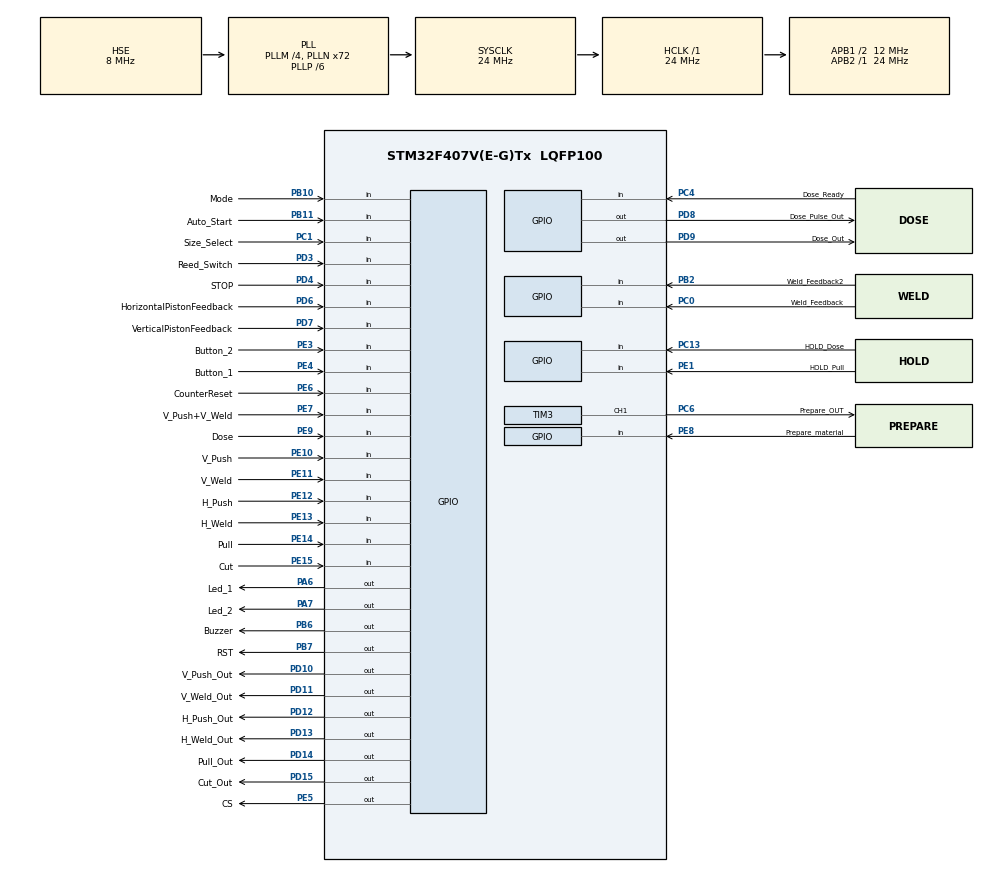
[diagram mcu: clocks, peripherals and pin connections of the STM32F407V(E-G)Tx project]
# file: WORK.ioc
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Mcu.Family=STM32F4
Mcu.Name=STM32F407V(E-G)Tx
Mcu.Package=LQFP100
NVIC.PriorityGroup=NVIC_PRIORITYGROUP_4
NVIC.TIM7_IRQn=true\:0\:0\:false\:false\:true\:true\:true
PA13.Mode=JTAG_5_pins
PA13.Signal=SYS_JTMS-SWDIO
PA14.Mode=JTAG_5_pins
PA14.Signal=SYS_JTCK-SWCLK
PA15.Mode=JTAG_5_pins
PA15.Signal=SYS_JTDI
PA6.GPIO_Label=Led_1
PA6.Signal=GPIO_Output
PA7.GPIO_Label=Led_2
PA7.Signal=GPIO_Output
PB10.GPIO_Label=Mode
PB10.GPIO_PuPd=GPIO_PULLUP
PB10.Signal=GPIO_Input
PB11.GPIO_Label=Auto_Start
PB11.GPIO_PuPd=GPIO_PULLUP
PB11.Signal=GPIO_Input
PB2.GPIO_Label=Weld_Feedback2
PB2.GPIO_PuPd=GPIO_PULLUP
PB2.Signal=GPIO_Input
PB3.Mode=JTAG_5_pins
PB3.Signal=SYS_JTDO-SWO
PB4.Mode=JTAG_5_pins
PB4.Signal=SYS_JTRST
PB6.GPIO_Label=Buzzer
PB6.Signal=GPIO_Output
PB7.GPIO_Label=RST
PB7.GPIO_PuPd=GPIO_PULLDOWN
PB7.Signal=GPIO_Output
PC0.GPIO_Label=Weld_Feedback
PC0.GPIO_PuPd=GPIO_PULLUP
PC0.Signal=GPIO_Input
PC1.GPIO_Label=Size_Select
PC1.GPIO_PuPd=GPIO_PULLUP
PC1.Signal=GPIO_Input
PC13-ANTI_TAMP.GPIO_Label=HOLD_Dose
PC13-ANTI_TAMP.GPIO_PuPd=GPIO_PULLUP
PC13-ANTI_TAMP.Signal=GPIO_Input
PC14-OSC32_IN.Mode=LSE-External-Oscillator
PC14-OSC32_IN.Signal=RCC_OSC32_IN
PC15-OSC32_OUT.Mode=LSE-External-Oscillator
PC15-OSC32_OUT.Signal=RCC_OSC32_OUT
PC4.GPIO_Label=Dose_Ready
PC4.GPIO_PuPd=GPIO_PULLDOWN
PC4.Signal=GPIO_Input
PC6.GPIO_Label=Prepare_OUT
PC6.GPIO_PuPd=GPIO_NOPULL
PC6.GPIO_Speed=GPIO_SPEED_FREQ_HIGH
PC6.Signal=S_TIM3_CH1
PD10.GPIO_Label=V_Push_Out
PD10.GPIO_PuPd=GPIO_PULLUP
PD10.Signal=GPIO_Output
PD11.GPIO_Label=V_Weld_Out
PD11.GPIO_PuPd=GPIO_PULLUP
PD11.Signal=GPIO_Output
PD12.GPIO_Label=H_Push_Out
PD12.GPIO_PuPd=GPIO_PULLUP
PD12.Signal=GPIO_Output
PD13.GPIO_Label=H_Weld_Out
PD13.GPIO_PuPd=GPIO_PULLUP
PD13.Signal=GPIO_Output
PD14.GPIO_Label=Pull_Out
PD14.GPIO_PuPd=GPIO_PULLUP
PD14.Signal=GPIO_Output
PD15.GPIO_Label=Cut_Out
PD15.GPIO_PuPd=GPIO_PULLUP
PD15.Signal=GPIO_Output
PD3.GPIO_Label=Reed_Switch
PD3.GPIO_PuPd=GPIO_PULLUP
PD3.Signal=GPIO_Input
PD4.GPIO_Label=STOP
PD4.GPIO_PuPd=GPIO_PULLUP
PD4.Signal=GPIO_Input
PD6.GPIO_Label=HorizontalPistonFeedback
PD6.GPIO_PuPd=GPIO_PULLUP
PD6.Signal=GPIO_Input
PD7.GPIO_Label=VerticalPistonFeedback
PD7.Signal=GPIO_Input
PD8.GPIO_Label=Dose_Pulse_Out
PD8.GPIO_PuPd=GPIO_PULLUP
PD8.Signal=GPIO_Output
PD9.GPIO_Label=Dose_Out
PD9.GPIO_PuPd=GPIO_PULLUP
PD9.Signal=GPIO_Output
PE1.GPIO_Label=HOLD_Pull
PE1.GPIO_PuPd=GPIO_PULLUP
PE1.Signal=GPIO_Input
PE10.GPIO_Label=V_Push
PE10.GPIO_PuPd=GPIO_PULLUP
PE10.Signal=GPIO_Input
PE11.GPIO_Label=V_Weld
PE11.GPIO_PuPd=GPIO_PULLUP
PE11.Signal=GPIO_Input
PE12.GPIO_Label=H_Push
PE12.GPIO_PuPd=GPIO_PULLUP
PE12.Signal=GPIO_Input
PE13.GPIO_Label=H_Weld
PE13.GPIO_PuPd=GPIO_PULLUP
PE13.Signal=GPIO_Input
PE14.GPIO_Label=Pull
PE14.GPIO_PuPd=GPIO_PULLUP
PE14.Signal=GPIO_Input
PE15.GPIO_Label=Cut
PE15.GPIO_PuPd=GPIO_PULLUP
PE15.Signal=GPIO_Input
PE3.GPIO_Label=Button_2
PE3.GPIO_PuPd=GPIO_PULLUP
PE3.Signal=GPIO_Input
PE4.GPIO_Label=Button_1
PE4.GPIO_PuPd=GPIO_PULLUP
PE4.Signal=GPIO_Input
PE5.GPIO_Label=CS
PE5.GPIO_PuPd=GPIO_PULLDOWN
PE5.Signal=GPIO_Output
PE6.GPIO_Label=CounterReset
PE6.GPIO_PuPd=GPIO_PULLUP
PE6.Signal=GPIO_Input
PE7.GPIO_Label=V_Push+V_Weld
PE7.GPIO_PuPd=GPIO_PULLUP
PE7.Signal=GPIO_Input
PE8.GPIO_Label=Prepare_material
PE8.GPIO_PuPd=GPIO_PULLUP
PE8.Signal=GPIO_Input
PE9.GPIO_Label=Dose
PE9.GPIO_PuPd=GPIO_PULLUP
PE9.Signal=GPIO_Input
PH0-OSC_IN.Mode=HSE-External-Oscillator
PH0-OSC_IN.Signal=RCC_OSC_IN
PH1-OSC_OUT.Mode=HSE-External-Oscillator
PH1-OSC_OUT.Signal=RCC_OSC_OUT
ProjectManager.HeapSize=0x200
ProjectManager.StackSize=0x400
ProjectManager.TargetToolchain=STM32CubeIDE
RCC.48MHZClocksFreq_Value=36000000
RCC.AHBFreq_Value=24000000
RCC.APB1CLKDivider=RCC_HCLK_DIV2
RCC.APB1Freq_Value=12000000
RCC.APB1TimFreq_Value=24000000
RCC.APB2Freq_Value=24000000
RCC.APB2TimFreq_Value=24000000
RCC.CortexFreq_Value=24000000
RCC.HCLKFreq_Value=24000000
RCC.HSE_VALUE=8000000
RCC.HSI_VALUE=16000000
RCC.PLLM=4
RCC.PLLN=72
RCC.PLLP=RCC_PLLP_DIV6
RCC.PLLSourceVirtual=RCC_PLLSOURCE_HSE
RCC.SYSCLKFreq_VALUE=24000000
RCC.SYSCLKSource=RCC_SYSCLKSOURCE_PLLCLK
RCC.VCOOutputFreq_Value=144000000
SH.S_TIM3_CH1.0=TIM3_CH1,PWM Generation1 CH1
TIM3.AutoReloadPreload=TIM_AUTORELOAD_PRELOAD_DISABLE
TIM3.Channel-PWM\ Generation1\ CH1=TIM_CHANNEL_1
TIM3.ClockDivision=TIM_CLOCKDIVISION_DIV4
TIM3.OCFastMode_PWM-PWM\ Generation1\ CH1=TIM_OCFAST_DISABLE
TIM3.Period=116
TIM3.Prescaler=150
TIM3.Pulse-PWM\ Generation1\ CH1=58
TIM7.Period=5
TIM7.Prescaler=24000-1
VP_TIM3_VS_ClockSourceINT.Mode=Internal
VP_TIM7_VS_ClockSourceINT.Mode=Enable_Timer
board=custom

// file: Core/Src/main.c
/* USER CODE BEGIN Header */
/**
  ******************************************************************************
  * @file           : main.c
  * @brief          : Main program body
  ******************************************************************************
  * @attention
  *
  * <h2><center>&copy; Copyright (c) 2021 STMicroelectronics.
  * All rights reserved.</center></h2>
  *
  * This software component is licensed by ST under BSD 3-Clause license,
  * the "License"; You may not use this file except in compliance with the
  * License. You may obtain a copy of the License at:
  *                        opensource.org/licenses/BSD-3-Clause
  *
  ******************************************************************************
  */
/* USER CODE END Header */
#include "main.h"

/* USER CODE BEGIN Includes */
#include <stdbool.h>
#include <stdio.h>
#include <string.h>
#include "ST7920_lib.h"
/* USER CODE END Includes */

/* USER CODE BEGIN PTD */
struct Button
{
	char* Label;
	GPIO_TypeDef* GPIO;
	uint16_t GPIO_Pin;
	GPIO_TypeDef* GPIO_Out;
	uint16_t GPIO_Pin_Out;
	uint8_t B_counter;
	uint8_t B_State;
	uint8_t B_Out;
	uint8_t Lock;
	uint8_t Mode;
	uint16_t Delay;
	struct Button* addiction;
	void (*call_function)(struct Button *button);
	void (*alternate_function)(struct Button *button);
	void (*third_function)(uint32_t* steps);
};
/* USER CODE END PTD */

/* USER CODE BEGIN PD */
#define HOLD 0
#define PRESS 1
#define TOGGLE 2
#define TIMER 3
#define __DELAY 4
#define HOLD_MOTOR 5
#define HOLD_UNTIL 6

#define STEPS 12000
#define ACCEL 800

#define PULL_STEPS 1720
/* USER CODE END PD */

TIM_HandleTypeDef htim3;
TIM_HandleTypeDef htim7;

/* USER CODE BEGIN PV */

// Переменные для работы счётчика (принцип энкодера)

uint8_t OutSignals[][2] = {{0,0},{1,0},{1,1},{0,1}};
uint8_t *pOutSig = OutSignals[0];

extern char tx_buffer[128]; //Буфер для отправки текста на дисплей
extern uint8_t Frame_buffer[1024]; //Буфер кадра

static uint32_t Pullsteps = PULL_STEPS, Dosesteps = STEPS;
uint32_t counter = 0, count_prev = 0;

char tmpflg = 0;

static bool flag = false;
#define WELD_DELAY 600
#define BUTTONS_COUNT 23
struct Button Buttons[BUTTONS_COUNT];
static uint32_t Defines[BUTTONS_COUNT][6] = {
		{(uint32_t)V_Push_V_Weld_GPIO_Port, V_Push_V_Weld_Pin, 0, 0, PRESS, 0},															// 0Macros
		{(uint32_t)Prepare_material_GPIO_Port, Prepare_material_Pin, (uint32_t)0, 0, HOLD_UNTIL, 12000},								// 1Prepare material from bobbin
		{(uint32_t)Dose_GPIO_Port, Dose_Pin, (uint32_t)Dose_Out_GPIO_Port, Dose_Out_Pin, TIMER, 2580},									// 2Dose motor control
		{(uint32_t)V_Push_GPIO_Port, V_Push_Pin, (uint32_t)V_Push_Out_GPIO_Port, V_Push_Out_Pin, TOGGLE, 0},							// 3Vertical cylinder push
		{(uint32_t)V_Weld_GPIO_Port, V_Weld_Pin, (uint32_t)V_Weld_Out_GPIO_Port, V_Weld_Out_Pin, __DELAY, WELD_DELAY},					// 4Vertical Weld spot
		{(uint32_t)H_Push_GPIO_Port, H_Push_Pin, (uint32_t)H_Push_Out_GPIO_Port, H_Push_Out_Pin, TOGGLE, 0},							// 5Horizontal cylinder push
		{(uint32_t)H_Weld_GPIO_Port, H_Weld_Pin, (uint32_t)H_Weld_Out_GPIO_Port, H_Weld_Out_Pin, __DELAY, WELD_DELAY},					// 6Horizontal Weld spot
		{(uint32_t)Pull_GPIO_Port, Pull_Pin, (uint32_t)Pull_Out_GPIO_Port, Pull_Out_Pin, TIMER, 2600},									// 7Pull material down
		{(uint32_t)Cut_GPIO_Port, Cut_Pin, (uint32_t)Cut_Out_GPIO_Port, Cut_Out_Pin, HOLD, 0},											// 8Cutter
		{(uint32_t)Mode_GPIO_Port, Mode_Pin, 0, 0, HOLD, 0},																			// 9Mode select
		{(uint32_t)Auto_Start_GPIO_Port, Auto_Start_Pin, 0, 0, TOGGLE, 0},																// 10Auto mode start
		{(uint32_t)HOLD_Dose_GPIO_Port, HOLD_Dose_Pin, (uint32_t)Dose_Out_GPIO_Port, Dose_Out_Pin, HOLD_MOTOR, 2580},					// 11HOLD_Dose motor
		{(uint32_t)HOLD_Pull_GPIO_Port, HOLD_Pull_Pin, (uint32_t)Pull_Out_GPIO_Port, Pull_Out_Pin, HOLD_MOTOR, 2580},					// 12HOLD_Pull motor
		{(uint32_t)Reed_Switch_GPIO_Port, Reed_Switch_Pin, (uint32_t)0, 0, 200, 2580},													// 13Reed Switch feedback
		{(uint32_t)CounterReset_GPIO_Port, CounterReset_Pin, (uint32_t)0, 0, 0, 0},														// 14Counter reset
		{(uint32_t)Size_Select_GPIO_Port, Size_Select_Pin, (uint32_t)0, 0, 0, 0},														// 15Pocket size select
		{(uint32_t)Dose_GPIO_Port, Dose_Pin, (uint32_t)Dose_Pulse_Out_GPIO_Port, Dose_Pulse_Out_Pin, __DELAY, 100},						// 16Pulse out for dose machine
		{(uint32_t)Dose_Ready_GPIO_Port, Dose_Ready_Pin, (uint32_t)0, 0, 0, 0},															// 17Dose feedback signal (When ready)
		{(uint32_t)Weld_Feedback_GPIO_Port, Weld_Feedback_Pin, (uint32_t)0, 0, 0, 0},													// 18Weld feedback (Check welder error)
		{(uint32_t)0, 0, (uint32_t)0, 0, 0, 0},																							// 19Buzzer
		{(uint32_t)Weld_Feedback2_GPIO_Port, Weld_Feedback2_Pin, (uint32_t)0, 0, 0, 0},													// 20Weld feedback2 (Check welder error)
		{(uint32_t)VerticalPistonFeedback_GPIO_Port, VerticalPistonFeedback_Pin, (uint32_t)0, 0, 0, 0},									// 21VPush_FeedBack
		{(uint32_t)HorizontalPistonFeedback_GPIO_Port, HorizontalPistonFeedback_Pin, (uint32_t)0, 0, 0, 0}								// 22HPush_FeedBack
};
/* USER CODE END PV */

void SystemClock_Config(void);
static void MX_GPIO_Init(void);
static void MX_TIM7_Init(void);
static void MX_TIM3_Init(void);
/* USER CODE BEGIN PFP */
void Init(void);
void toggle_func(struct Button *button);
void macros1(struct Button *button);
void Delay(uint32_t delay);
void SetSteps0(uint32_t* steps);
void SetSteps1(uint32_t* steps);
void SetSteps2(uint32_t* steps);
void TimerMotor(struct Button *Button);
void HoldMotor(struct Button *Button, uint8_t mode);
void HoldPrepareMotorUntill(struct Button *Button, uint8_t mode);
/* USER CODE END PFP */

int main(void)
{

  /* MCU Configuration--------------------------------------------------------*/

  /* Reset of all peripherals, Initializes the Flash interface and the Systick. */
  HAL_Init();

  /* Configure the system clock */
  SystemClock_Config();

  /* Initialize all configured peripherals */
  MX_GPIO_Init();
  MX_TIM7_Init();
  MX_TIM3_Init();
  /* USER CODE BEGIN 2 */
  //Reset output pins
  GPIOD->ODR = ~0;
  Init();
  HAL_Delay(2300);
  //Engage spi display
  //ST7920_Clean();
  //sprintf(tx_buffer, "Count: %lu", counter);
  //ST7920_Decode_UTF8(20, 4, 0, tx_buffer);
  //Engage timers ( buttons check, etc. )
  HAL_TIM_Base_Start_IT(&htim7);
  HAL_GPIO_WritePin(Buzzer_GPIO_Port, Buzzer_Pin, 1);
  //HAL_TIM_Base_Start_IT(&htim6);
  /* USER CODE END 2 */

  /* Infinite loop */
  /* USER CODE BEGIN WHILE */
	while(1)
	{

		if(!Buttons[9].B_State)// Mode select
		{
			tmpflg = 1;
			if(Buttons[9].B_Out == 1) // Reset buttons and timers
			{
				HAL_TIM_PWM_Stop(&htim3, TIM_CHANNEL_1);
				Buttons[9].B_Out = 0;
				for(uint8_t i = 0; i < BUTTONS_COUNT; i++)
				{
					Buttons[i].B_Out = 0;
				};
			}
			// MANUAL MODE
			for(uint8_t i = 0; i < BUTTONS_COUNT; i++)
			{
				if(Buttons[i].Lock == 0)
				{
					if(Buttons[i].Mode == HOLD)
					{
						HAL_GPIO_WritePin(Buttons[i].GPIO_Out, Buttons[i].GPIO_Pin_Out, !Buttons[i].B_State);
						continue;
					}
					if(Buttons[i].Mode == TOGGLE && Buttons[i].alternate_function == 0)
					{
						if(Buttons[i].addiction != 0)
							HAL_GPIO_WritePin(Buttons[i].GPIO_Out, Buttons[i].GPIO_Pin_Out, !(Buttons[i].B_Out && Buttons[i].addiction->B_Out));
						else
							HAL_GPIO_WritePin(Buttons[i].GPIO_Out, Buttons[i].GPIO_Pin_Out, !Buttons[i].B_Out);
						continue;
					}
					if (Buttons[i].alternate_function && Buttons[i].Mode == PRESS && Buttons[i].B_Out)
					{
						Buttons[i].B_Out = 0;
						Buttons[i].alternate_function(&Buttons[i]);
						continue;
					}
					if(Buttons[i].Mode == TIMER && Buttons[i].B_Out)
					{
						Buttons[i].B_Out = 0;
						TimerMotor(&Buttons[i]);
						continue;
					}
					if(Buttons[i].Mode == __DELAY && Buttons[i].B_Out)
					{
						if(Buttons[i].addiction->B_Out == 0) continue;
						Buttons[i].B_Out = 0;
						HAL_GPIO_WritePin(Buttons[i].GPIO_Out, Buttons[i].GPIO_Pin_Out, 0);
						HAL_Delay(Buttons[i].Delay);
						HAL_GPIO_WritePin(Buttons[i].GPIO_Out, Buttons[i].GPIO_Pin_Out, 1);
						continue;
					}
					if(Buttons[i].Mode == HOLD_MOTOR && Buttons[i].B_Out)
					{
						Buttons[i].B_Out = 0;
						HoldMotor(&Buttons[i], 1);
						continue;
					}
					if(Buttons[i].Mode == HOLD_UNTIL && Buttons[i].B_Out)
					{
						HoldPrepareMotorUntill(Buttons[i].addiction, 1);
						//Buttons[i].B_Out = 0;
						continue;
					}
				}
				if(Buttons[i].Mode == 200) {Buttons[i].B_Out = 0;}
			}
		}
    /* USER CODE END WHILE */

    /* USER CODE BEGIN 3 */
		else
		{
			if(tmpflg)
			{
				tmpflg = 0;
				Buttons[10].B_Out = 0;
				Buttons[17].B_Out = 0;
			}
			//AUTO MODE
			#define DOSE_PULSE_START HAL_GPIO_WritePin(Buttons[16].GPIO_Out, Buttons[16].GPIO_Pin_Out, 0); // Pulse out when dose
			#define DOSE_PULSE_STOP HAL_GPIO_WritePin(Buttons[16].GPIO_Out, Buttons[16].GPIO_Pin_Out, 1); // Pulse out when dose
			#define PUSH_V HAL_GPIO_WritePin(Buttons[3].GPIO_Out, Buttons[3].GPIO_Pin_Out, 0); // Push
			#define PUSH_H HAL_GPIO_WritePin(Buttons[5].GPIO_Out, Buttons[5].GPIO_Pin_Out, 0); // Push
			#define RELEASE_V HAL_GPIO_WritePin(Buttons[3].GPIO_Out, Buttons[3].GPIO_Pin_Out, 1); //Release
			#define RELEASE_H HAL_GPIO_WritePin(Buttons[5].GPIO_Out, Buttons[5].GPIO_Pin_Out, 1); //Release
			#define CUT_START HAL_GPIO_WritePin(Buttons[8].GPIO_Out, Buttons[8].GPIO_Pin_Out, 0); // CUT
			#define CUT_RELEASE HAL_GPIO_WritePin(Buttons[8].GPIO_Out, Buttons[8].GPIO_Pin_Out, 1); //Release
			#define WELD_V_START HAL_GPIO_WritePin(Buttons[4].GPIO_Out, Buttons[4].GPIO_Pin_Out, 0); // Weld
			#define WELD_H_START HAL_GPIO_WritePin(Buttons[6].GPIO_Out, Buttons[6].GPIO_Pin_Out, 0); // Weld
			#define WELD_V_STOP HAL_GPIO_WritePin(Buttons[4].GPIO_Out, Buttons[4].GPIO_Pin_Out, 1);
			#define WELD_H_STOP HAL_GPIO_WritePin(Buttons[6].GPIO_Out, Buttons[6].GPIO_Pin_Out, 1);
			#define PULL TimerMotor(&Buttons[7]); // PULL mat.
			#define DOSE TimerMotor(&Buttons[2]); // Dose
			#define CYCLE_DELAY HAL_Delay(100);
			#define WELD_TIME HAL_Delay(600);
			#define WAITING 450

			#define VPISTON_STATE Buttons[21].B_State
			#define HPISTON_STATE Buttons[22].B_State
			void WaitPistons(void)
			{
				uint16_t _timer = 0;
				while(VPISTON_STATE == 0 || HPISTON_STATE == 0)
				{
					_timer++;
					HAL_Delay(1);
					if(_timer >= 900)
					{
						Buttons[10].B_Out = 0;
						_timer = 0;
						while(!Buttons[10].B_Out && (!Buttons[21].B_State || !Buttons[22].B_State))
						{
							HAL_GPIO_WritePin(Buzzer_GPIO_Port, Buzzer_Pin, 0);
							HAL_Delay(200);
							HAL_GPIO_WritePin(Buzzer_GPIO_Port, Buzzer_Pin, 1);
							HAL_Delay(200);
						};
					}
				}
			}
			#define WAITPUSH WaitPistons();

			void WaitDoseReady(void)
			{
				while(Buttons[17].B_Out)
				{
					asm("NOP");
					if(!Buttons[10].B_Out || !Buttons[9].B_State)
					{
						break;
					};
					/*if(Buttons[17].B_Out && !Buttons[17].B_State)
					{
						break;
					}
					*/
				};
				Buttons[17].B_Out = 1;
			};
			#define WAIT_DOSE_READY WaitDoseReady();
			void Welder_Check(void)
			{
				uint32_t timer = 12000000;
				while(!Buttons[18].B_State || !Buttons[20].B_State)
				{
					timer--;
					if(!timer)
					{
						WELD_H_STOP
						WELD_V_STOP
						Buttons[10].B_Out = 0;
						while(!Buttons[10].B_Out && (!Buttons[18].B_State || !Buttons[20].B_State))
						{
							HAL_GPIO_WritePin(Buzzer_GPIO_Port, Buzzer_Pin, 0);
							HAL_Delay(200);
							HAL_GPIO_WritePin(Buzzer_GPIO_Port, Buzzer_Pin, 1);
							HAL_Delay(200);
						};
						WELD_H_START
						WELD_V_START
						break;
					};
				};

			}
			#define WELD_CHECK Welder_Check();

			if(Buttons[10].B_Out) // AUTO MODE START
			{
				if(Buttons[15].B_State == 1)
				{
					Pullsteps = PULL_STEPS / 2;
					Dosesteps = STEPS;
					//Pull new material
					PULL
					CYCLE_DELAY
					//Clamp material 1, cut pocket
					PUSH_H
					PUSH_V
					WAITPUSH
					CUT_START
					CYCLE_DELAY
					CUT_RELEASE
					//Welding stage 1
					WELD_H_START
					WELD_V_START
					WELD_CHECK
					WELD_TIME
					WELD_H_STOP
					WELD_V_STOP
					//Release
					RELEASE_H
					RELEASE_V
					CYCLE_DELAY
					//Fill, release
					WAIT_DOSE_READY
					DOSE_PULSE_START
					CYCLE_DELAY
					DOSE_PULSE_STOP
					HAL_Delay(WAITING); // Delay. Mixture fall time
					CYCLE_DELAY
				}
				else
				{
					Pullsteps = PULL_STEPS / 2;
					Dosesteps = STEPS;
					//Pull new material
					PULL
					CYCLE_DELAY
					//Clamp material 1, cut pocket
					PUSH_H
					PUSH_V
					WAITPUSH
					CUT_START
					CYCLE_DELAY
					CUT_RELEASE
					//Welding stage 1
					WELD_H_START
					WELD_V_START
					WELD_CHECK
					WELD_TIME
					WELD_H_STOP
					WELD_V_STOP
					//Release, fill 1
					RELEASE_H
					RELEASE_V
					WAIT_DOSE_READY
					DOSE_PULSE_START
					CYCLE_DELAY
					DOSE_PULSE_STOP
					CYCLE_DELAY
					HAL_Delay(WAITING); // TEST
					CYCLE_DELAY
					//DOSE
					//Pull stage 2
					PULL
					CYCLE_DELAY
					//Clamp material 2
					PUSH_V
					PUSH_H
					WAITPUSH
					CYCLE_DELAY
					//Welding stage 2
					WELD_V_START
					WELD_H_START
					WELD_CHECK
					WELD_TIME
					WELD_V_STOP
					WELD_H_STOP
					//Release, fill 2
					RELEASE_V
					RELEASE_H
					WAIT_DOSE_READY
					DOSE_PULSE_START
					CYCLE_DELAY
					DOSE_PULSE_STOP
					//DOSE
					CYCLE_DELAY
					HAL_Delay(WAITING); // TEST
					CYCLE_DELAY
					/*
					PULL
					CYCLE_DELAY
					PUSH_H
					PUSH_V
					CYCLE_DELAY
					WELD_H_START
					WELD_V_START
					WELD_TIME
					WELD_H_STOP
					WELD_V_STOP
					DOSE
					PULL
					CYCLE_DELAY
					PUSH_H
					PUSH_V
					CYCLE_DELAY
					WELD_H_START
					WELD_V_START
					WELD_TIME
					WELD_H_STOP
					WELD_V_STOP
					DOSE
					CUT_START
					CYCLE_DELAY
					CUT_RELEASE
					RELEASE_H
					RELEASE_V
					CYCLE_DELAY
					*/
				}
				// Section for quadrature counter
				/*
				static uint8_t mem = 0;
				pOutSig++;
				pOutSig++;
				mem++;
				HAL_Delay(200);
				if(mem > 3)
				{
					pOutSig = OutSignals[0];
					mem = 0;
				}
				HAL_GPIO_WritePin(OUT_A_GPIO_Port, OUT_A_Pin, !pOutSig[0]);
				HAL_GPIO_WritePin(OUT_B_GPIO_Port, OUT_B_Pin, !pOutSig[1]);
				*/
				//End

				counter++; // Ammount of packages done
			}
			else if(flag == true)
			{
				flag = false;
				HAL_TIM_PWM_Stop(&htim3, TIM_CHANNEL_1);
			}
			//Spi 128x64 screen
			/*
			sprintf(tx_buffer, "Count: %lu", counter);
			ST7920_Decode_UTF8(20, 4, 0, tx_buffer);
			ST7920_Update();
			*/
		}
  }
  /* USER CODE END 3 */
}

void SystemClock_Config(void)
{
  RCC_OscInitTypeDef RCC_OscInitStruct = {0};
  RCC_ClkInitTypeDef RCC_ClkInitStruct = {0};

  /** Configure the main internal regulator output voltage
  */
  __HAL_RCC_PWR_CLK_ENABLE();
  __HAL_PWR_VOLTAGESCALING_CONFIG(PWR_REGULATOR_VOLTAGE_SCALE1);
  /** Initializes the RCC Oscillators according to the specified parameters
  * in the RCC_OscInitTypeDef structure.
  */
  RCC_OscInitStruct.OscillatorType = RCC_OSCILLATORTYPE_HSE;
  RCC_OscInitStruct.HSEState = RCC_HSE_ON;
  RCC_OscInitStruct.PLL.PLLState = RCC_PLL_ON;
  RCC_OscInitStruct.PLL.PLLSource = RCC_PLLSOURCE_HSE;
  RCC_OscInitStruct.PLL.PLLM = 4;
  RCC_OscInitStruct.PLL.PLLN = 72;
  RCC_OscInitStruct.PLL.PLLP = RCC_PLLP_DIV6;
  RCC_OscInitStruct.PLL.PLLQ = 4;
  if (HAL_RCC_OscConfig(&RCC_OscInitStruct) != HAL_OK)
  {
    Error_Handler();
  }
  /** Initializes the CPU, AHB and APB buses clocks
  */
  RCC_ClkInitStruct.ClockType = RCC_CLOCKTYPE_HCLK|RCC_CLOCKTYPE_SYSCLK
                              |RCC_CLOCKTYPE_PCLK1|RCC_CLOCKTYPE_PCLK2;
  RCC_ClkInitStruct.SYSCLKSource = RCC_SYSCLKSOURCE_PLLCLK;
  RCC_ClkInitStruct.AHBCLKDivider = RCC_SYSCLK_DIV1;
  RCC_ClkInitStruct.APB1CLKDivider = RCC_HCLK_DIV2;
  RCC_ClkInitStruct.APB2CLKDivider = RCC_HCLK_DIV1;

  if (HAL_RCC_ClockConfig(&RCC_ClkInitStruct, FLASH_LATENCY_0) != HAL_OK)
  {
    Error_Handler();
  }
}

static void MX_TIM3_Init(void)
{

  TIM_ClockConfigTypeDef sClockSourceConfig = {0};
  TIM_MasterConfigTypeDef sMasterConfig = {0};
  TIM_OC_InitTypeDef sConfigOC = {0};

  htim3.Instance = TIM3;
  htim3.Init.Prescaler = 150;
  htim3.Init.CounterMode = TIM_COUNTERMODE_UP;
  htim3.Init.Period = 116;
  htim3.Init.ClockDivision = TIM_CLOCKDIVISION_DIV4;
  htim3.Init.AutoReloadPreload = TIM_AUTORELOAD_PRELOAD_DISABLE;
  if (HAL_TIM_Base_Init(&htim3) != HAL_OK)
  {
    Error_Handler();
  }
  sClockSourceConfig.ClockSource = TIM_CLOCKSOURCE_INTERNAL;
  if (HAL_TIM_ConfigClockSource(&htim3, &sClockSourceConfig) != HAL_OK)
  {
    Error_Handler();
  }
  if (HAL_TIM_PWM_Init(&htim3) != HAL_OK)
  {
    Error_Handler();
  }
  sMasterConfig.MasterOutputTrigger = TIM_TRGO_RESET;
  sMasterConfig.MasterSlaveMode = TIM_MASTERSLAVEMODE_DISABLE;
  if (HAL_TIMEx_MasterConfigSynchronization(&htim3, &sMasterConfig) != HAL_OK)
  {
    Error_Handler();
  }
  sConfigOC.OCMode = TIM_OCMODE_PWM1;
  sConfigOC.Pulse = 58;
  sConfigOC.OCPolarity = TIM_OCPOLARITY_HIGH;
  sConfigOC.OCFastMode = TIM_OCFAST_DISABLE;
  if (HAL_TIM_PWM_ConfigChannel(&htim3, &sConfigOC, TIM_CHANNEL_1) != HAL_OK)
  {
    Error_Handler();
  }
  HAL_TIM_MspPostInit(&htim3);

}

static void MX_TIM7_Init(void)
{

  TIM_MasterConfigTypeDef sMasterConfig = {0};

  htim7.Instance = TIM7;
  htim7.Init.Prescaler = 24000-1;
  htim7.Init.CounterMode = TIM_COUNTERMODE_UP;
  htim7.Init.Period = 5;
  htim7.Init.AutoReloadPreload = TIM_AUTORELOAD_PRELOAD_DISABLE;
  if (HAL_TIM_Base_Init(&htim7) != HAL_OK)
  {
    Error_Handler();
  }
  sMasterConfig.MasterOutputTrigger = TIM_TRGO_RESET;
  sMasterConfig.MasterSlaveMode = TIM_MASTERSLAVEMODE_DISABLE;
  if (HAL_TIMEx_MasterConfigSynchronization(&htim7, &sMasterConfig) != HAL_OK)
  {
    Error_Handler();
  }

}

static void MX_GPIO_Init(void)
{
  GPIO_InitTypeDef GPIO_InitStruct = {0};

  /* GPIO Ports Clock Enable */
  __HAL_RCC_GPIOE_CLK_ENABLE();
  __HAL_RCC_GPIOC_CLK_ENABLE();
  __HAL_RCC_GPIOH_CLK_ENABLE();
  __HAL_RCC_GPIOA_CLK_ENABLE();
  __HAL_RCC_GPIOB_CLK_ENABLE();
  __HAL_RCC_GPIOD_CLK_ENABLE();

  /*Configure GPIO pin Output Level */
  HAL_GPIO_WritePin(CS_GPIO_Port, CS_Pin, GPIO_PIN_RESET);

  /*Configure GPIO pin Output Level */
  HAL_GPIO_WritePin(GPIOA, Led_1_Pin|Led_2_Pin, GPIO_PIN_RESET);

  /*Configure GPIO pin Output Level */
  HAL_GPIO_WritePin(GPIOD, Dose_Pulse_Out_Pin|Dose_Out_Pin|V_Push_Out_Pin|V_Weld_Out_Pin
                          |H_Push_Out_Pin|H_Weld_Out_Pin|Pull_Out_Pin|Cut_Out_Pin, GPIO_PIN_RESET);

  /*Configure GPIO pin Output Level */
  HAL_GPIO_WritePin(GPIOB, Buzzer_Pin|RST_Pin, GPIO_PIN_RESET);

  /*Configure GPIO pins : Button_2_Pin Button_1_Pin CounterReset_Pin V_Push_V_Weld_Pin
                           Prepare_material_Pin Dose_Pin V_Push_Pin V_Weld_Pin
                           H_Push_Pin H_Weld_Pin Pull_Pin Cut_Pin
                           HOLD_Pull_Pin */
  GPIO_InitStruct.Pin = Button_2_Pin|Button_1_Pin|CounterReset_Pin|V_Push_V_Weld_Pin
                          |Prepare_material_Pin|Dose_Pin|V_Push_Pin|V_Weld_Pin
                          |H_Push_Pin|H_Weld_Pin|Pull_Pin|Cut_Pin
                          |HOLD_Pull_Pin;
  GPIO_InitStruct.Mode = GPIO_MODE_INPUT;
  GPIO_InitStruct.Pull = GPIO_PULLUP;
  HAL_GPIO_Init(GPIOE, &GPIO_InitStruct);

  /*Configure GPIO pin : CS_Pin */
  GPIO_InitStruct.Pin = CS_Pin;
  GPIO_InitStruct.Mode = GPIO_MODE_OUTPUT_PP;
  GPIO_InitStruct.Pull = GPIO_PULLDOWN;
  GPIO_InitStruct.Speed = GPIO_SPEED_FREQ_LOW;
  HAL_GPIO_Init(CS_GPIO_Port, &GPIO_InitStruct);

  /*Configure GPIO pins : HOLD_Dose_Pin Weld_Feedback_Pin Size_Select_Pin */
  GPIO_InitStruct.Pin = HOLD_Dose_Pin|Weld_Feedback_Pin|Size_Select_Pin;
  GPIO_InitStruct.Mode = GPIO_MODE_INPUT;
  GPIO_InitStruct.Pull = GPIO_PULLUP;
  HAL_GPIO_Init(GPIOC, &GPIO_InitStruct);

  /*Configure GPIO pins : Led_1_Pin Led_2_Pin */
  GPIO_InitStruct.Pin = Led_1_Pin|Led_2_Pin;
  GPIO_InitStruct.Mode = GPIO_MODE_OUTPUT_PP;
  GPIO_InitStruct.Pull = GPIO_NOPULL;
  GPIO_InitStruct.Speed = GPIO_SPEED_FREQ_LOW;
  HAL_GPIO_Init(GPIOA, &GPIO_InitStruct);

  /*Configure GPIO pin : Dose_Ready_Pin */
  GPIO_InitStruct.Pin = Dose_Ready_Pin;
  GPIO_InitStruct.Mode = GPIO_MODE_INPUT;
  GPIO_InitStruct.Pull = GPIO_PULLDOWN;
  HAL_GPIO_Init(Dose_Ready_GPIO_Port, &GPIO_InitStruct);

  /*Configure GPIO pins : Weld_Feedback2_Pin Mode_Pin Auto_Start_Pin */
  GPIO_InitStruct.Pin = Weld_Feedback2_Pin|Mode_Pin|Auto_Start_Pin;
  GPIO_InitStruct.Mode = GPIO_MODE_INPUT;
  GPIO_InitStruct.Pull = GPIO_PULLUP;
  HAL_GPIO_Init(GPIOB, &GPIO_InitStruct);

  /*Configure GPIO pins : Dose_Pulse_Out_Pin Dose_Out_Pin V_Push_Out_Pin V_Weld_Out_Pin
                           H_Push_Out_Pin H_Weld_Out_Pin Pull_Out_Pin Cut_Out_Pin */
  GPIO_InitStruct.Pin = Dose_Pulse_Out_Pin|Dose_Out_Pin|V_Push_Out_Pin|V_Weld_Out_Pin
                          |H_Push_Out_Pin|H_Weld_Out_Pin|Pull_Out_Pin|Cut_Out_Pin;
  GPIO_InitStruct.Mode = GPIO_MODE_OUTPUT_PP;
  GPIO_InitStruct.Pull = GPIO_PULLUP;
  GPIO_InitStruct.Speed = GPIO_SPEED_FREQ_LOW;
  HAL_GPIO_Init(GPIOD, &GPIO_InitStruct);

  /*Configure GPIO pins : Reed_Switch_Pin STOP_Pin HorizontalPistonFeedback_Pin */
  GPIO_InitStruct.Pin = Reed_Switch_Pin|STOP_Pin|HorizontalPistonFeedback_Pin;
  GPIO_InitStruct.Mode = GPIO_MODE_INPUT;
  GPIO_InitStruct.Pull = GPIO_PULLUP;
  HAL_GPIO_Init(GPIOD, &GPIO_InitStruct);

  /*Configure GPIO pin : VerticalPistonFeedback_Pin */
  GPIO_InitStruct.Pin = VerticalPistonFeedback_Pin;
  GPIO_InitStruct.Mode = GPIO_MODE_INPUT;
  GPIO_InitStruct.Pull = GPIO_NOPULL;
  HAL_GPIO_Init(VerticalPistonFeedback_GPIO_Port, &GPIO_InitStruct);

  /*Configure GPIO pin : Buzzer_Pin */
  GPIO_InitStruct.Pin = Buzzer_Pin;
  GPIO_InitStruct.Mode = GPIO_MODE_OUTPUT_PP;
  GPIO_InitStruct.Pull = GPIO_NOPULL;
  GPIO_InitStruct.Speed = GPIO_SPEED_FREQ_LOW;
  HAL_GPIO_Init(Buzzer_GPIO_Port, &GPIO_InitStruct);

  /*Configure GPIO pin : RST_Pin */
  GPIO_InitStruct.Pin = RST_Pin;
  GPIO_InitStruct.Mode = GPIO_MODE_OUTPUT_PP;
  GPIO_InitStruct.Pull = GPIO_PULLDOWN;
  GPIO_InitStruct.Speed = GPIO_SPEED_FREQ_LOW;
  HAL_GPIO_Init(RST_GPIO_Port, &GPIO_InitStruct);

}

/* USER CODE BEGIN 4 */
void Init(void)
{
	  HAL_Delay(100);
	  //ST7920_Init();
	  //ST7920_Graphic_mode(1);
	  //sprintf(tx_buffer, "WELCOME");
	  //ST7920_Decode_UTF8(50, 3, 0, tx_buffer);
	  //ST7920_Update();
	  for(uint8_t i = 0; i < BUTTONS_COUNT; i++)
	  {
		  Buttons[i].B_Out = 0;
		  Buttons[i].B_State = 0;
		  Buttons[i].B_counter = 0;
		  Buttons[i].Lock = 0;
		  Buttons[i].call_function = toggle_func;
		  Buttons[i].alternate_function = 0;
		  Buttons[i].GPIO = (GPIO_TypeDef*)Defines[i][0];
		  Buttons[i].GPIO_Pin = Defines[i][1];
		  Buttons[i].GPIO_Out = (GPIO_TypeDef*)Defines[i][2];
		  Buttons[i].GPIO_Pin_Out = Defines[i][3];
		  Buttons[i].Mode = Defines[i][4];
		  Buttons[i].Delay = Defines[i][5];
		  Buttons[i].addiction = 0;
	  }
	  Buttons[0].alternate_function = macros1;
	  Buttons[1].Label = "Prepare";
	  Buttons[1].third_function = SetSteps0;
	  Buttons[1].addiction = &Buttons[13];
	  Buttons[2].third_function = SetSteps2;
	  Buttons[4].addiction = &Buttons[3];
	  Buttons[6].addiction = &Buttons[5];
	  Buttons[7].third_function = SetSteps1;
	  Buttons[9].Label = "mode";
	  Buttons[10].Label = "auto_start";
	  Buttons[13].Label = "reed_switch";
	  HAL_GPIO_WritePin(Led_1_GPIO_Port, Led_1_Pin, 1);
	  HAL_GPIO_WritePin(Led_2_GPIO_Port, Led_2_Pin, 1);
}

void HAL_GPIO_EXTI_Callback(uint16_t GPIO_Pin)
{

}

void HAL_TIM_PeriodElapsedCallback(TIM_HandleTypeDef *htim)
{
	if (htim->Instance==TIM7)
	{
		if(HAL_GPIO_ReadPin(STOP_GPIO_Port, STOP_Pin) == 0)
		{
			for(uint8_t i = 0; i < BUTTONS_COUNT; i++)
			{
				HAL_GPIO_WritePin(Buttons[i].GPIO_Out, Buttons[i].GPIO_Pin_Out, 1);
			}
			HAL_TIM_PWM_Stop(&htim3, TIM_CHANNEL_1);
			HAL_TIM_Base_Stop_IT(&htim7);
			Delay(4800000);
			while(HAL_GPIO_ReadPin(STOP_GPIO_Port, STOP_Pin) == 0){asm("NOP");};
			HAL_NVIC_SystemReset();
		}

		for(uint8_t i = 0; i < BUTTONS_COUNT; i++)
		{
			if((Buttons[i].addiction->B_Out == 1 && Buttons[i].Mode == __DELAY && Buttons[i].addiction != 0) || Buttons[i].addiction == 0 || Buttons[i].Mode != __DELAY)
				Buttons[i].call_function(&Buttons[i]);
		}
		if(flag == true || Buttons[10].B_Out == 1)
		{
			HoldPrepareMotorUntill(Buttons[1].addiction, 1);
		}
		if((flag == true && Buttons[10].B_Out == 0) || Buttons[9].B_State == 0)
		{
			flag = false;
			HAL_TIM_PWM_Stop(&htim3, TIM_CHANNEL_1);
		}
		if(Buttons[14].B_Out && counter > 0)
		{
			Buttons[14].B_Out = 0;
			counter = 0;
			//ST7920_Clean();
		}

	}
	if (htim->Instance==TIM6)
	{
		//ST7920_Update();
	}
}

/*
uint8_t find_button(uint8_t* label) // Unused
{
	uint8_t* ptr = label;
	uint8_t length = 0;
	uint8_t i;
	uint8_t j;
	while(ptr++) length++;
	for(i = 0; i < BUTTONS_COUNT; i++)
	{
		for(j = 0; j < length; j++)
		{
			if(label[j] == Buttons[i].Label[j]){if( j==length-1 ){return i;}}
			else{break;};
		}
	}
	return -1;
}
*/
void toggle_func(struct Button *button)
{
	if(HAL_GPIO_ReadPin(button->GPIO, button->GPIO_Pin) == 0 && button->Lock == 0)
		{
			if(button->B_counter < 20)
				button->B_counter++;
			else
				if(button->B_State == 0)
				{
					button->B_State = 1;
					button->B_Out ^= 1;
				}
		}
		else
		{
			if(button->B_counter > 0)
				button->B_counter--;
			else
				button->B_State = 0;
		}
}
void macros1(struct Button *button)
{
		HAL_GPIO_WritePin(Buttons[3].GPIO_Out, Buttons[3].GPIO_Pin_Out, 0);
		HAL_GPIO_WritePin(Buttons[4].GPIO_Out, Buttons[5].GPIO_Pin_Out, 0);
		HAL_Delay(200);
		HAL_GPIO_WritePin(Buttons[5].GPIO_Out, Buttons[4].GPIO_Pin_Out, 0);
		HAL_GPIO_WritePin(Buttons[6].GPIO_Out, Buttons[6].GPIO_Pin_Out, 0);
		HAL_Delay(300);
		HAL_GPIO_WritePin(Buttons[3].GPIO_Out, Buttons[3].GPIO_Pin_Out, 1);
		HAL_GPIO_WritePin(Buttons[4].GPIO_Out, Buttons[4].GPIO_Pin_Out, 1);
		HAL_GPIO_WritePin(Buttons[5].GPIO_Out, Buttons[5].GPIO_Pin_Out, 1);
		HAL_GPIO_WritePin(Buttons[6].GPIO_Out, Buttons[6].GPIO_Pin_Out, 1);
}

void HoldMotor(struct Button *Button, uint8_t mode)
{

	uint32_t Limitation = 100000;
	uint16_t temp = 0;
	for(uint32_t j = 0; j < 10; j++)
	{
		HAL_GPIO_WritePin(Button->GPIO_Out, Button->GPIO_Pin_Out, 0);
		Delay(Button->Delay/2);
		HAL_GPIO_WritePin(Button->GPIO_Out, Button->GPIO_Pin_Out, 1);
		Delay(Button->Delay/2);
	}
	while(Button->B_State == mode && Limitation)
	{
		Limitation--;
		if(temp < ACCEL) temp++;
		HAL_GPIO_WritePin(Button->GPIO_Out, Button->GPIO_Pin_Out, 0);
		Delay(Button->Delay/2 - temp);
		HAL_GPIO_WritePin(Button->GPIO_Out, Button->GPIO_Pin_Out, 1);
		Delay(Button->Delay/2 - temp);
	}

}

void HoldPrepareMotorUntill(struct Button *Button, uint8_t mode)
{
	if(Button->B_State == mode)
	{
		if(flag == false)
		{
			HAL_TIM_PWM_Start(&htim3, TIM_CHANNEL_1);
			flag = true;
		}
	}
	else
	{
		HAL_TIM_PWM_Stop(&htim3, TIM_CHANNEL_1);
		flag = false;
		Buttons[1].B_Out = 0;
	}
}

void TimerMotor(struct Button *Button)
{
	//HAL_TIM_Base_Stop_IT(&htim7);
	uint16_t temp = 0;
	uint32_t steps = 200;
	if(Button->third_function)
	{
		Button->third_function(&steps);
	}
	for(uint32_t j = 0; j < 20; j++)
	{
		HAL_GPIO_WritePin(Button->GPIO_Out, Button->GPIO_Pin_Out, 0);
		Delay(Button->Delay/2);
		HAL_GPIO_WritePin(Button->GPIO_Out, Button->GPIO_Pin_Out, 1);
		Delay(Button->Delay/2);
	}
	for(uint32_t j = 0; j < steps; j++)
	{
		if(temp < ACCEL) temp++;
		HAL_GPIO_WritePin(Button->GPIO_Out, Button->GPIO_Pin_Out, 0);
		Delay(Button->Delay/2 - temp);
		HAL_GPIO_WritePin(Button->GPIO_Out, Button->GPIO_Pin_Out, 1);
		Delay(Button->Delay/2 - temp);
	}
	//HAL_TIM_Base_Start_IT(&htim7);
}

void SetSteps1(uint32_t* steps)
{
	*(steps) = Pullsteps;
}

void SetSteps2(uint32_t* steps)
{
	*(steps) = Dosesteps;
}

void SetSteps0(uint32_t* steps)
{
	*(steps) = 1000;
}

void Delay(uint32_t delay)
{
	while(delay--){asm("NOP");}
}

/* USER CODE END 4 */

void Error_Handler(void)
{
  /* USER CODE BEGIN Error_Handler_Debug */
  /* User can add his own implementation to report the HAL error return state */
	HAL_GPIO_WritePin(Led_1_GPIO_Port, Led_1_Pin, 0);
	HAL_GPIO_WritePin(Led_2_GPIO_Port, Led_2_Pin, 0);
  /* USER CODE END Error_Handler_Debug */
}

/************************ (C) COPYRIGHT STMicroelectronics *****END OF FILE****/
